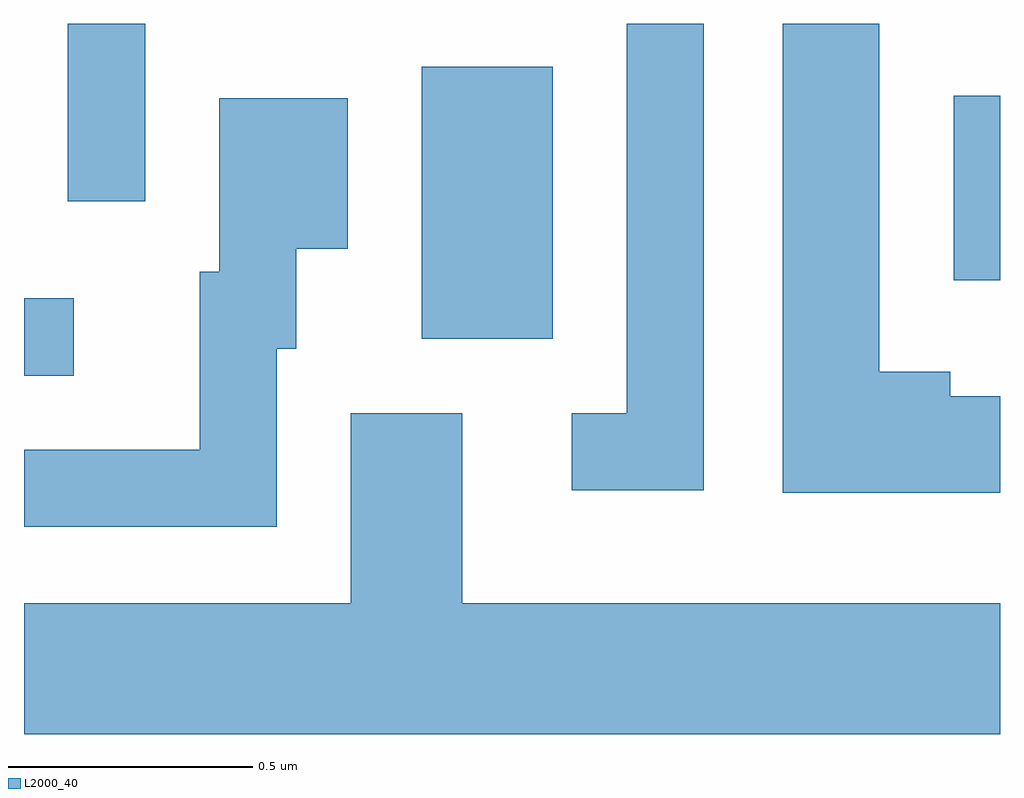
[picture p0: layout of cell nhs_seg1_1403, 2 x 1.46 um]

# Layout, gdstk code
import gdstk
lib = gdstk.Library(unit=1e-6, precision=1e-09)
def R(c, l, rs):  # rectangles x0, y0, x1, y1
    for r in rs: c.add(gdstk.rectangle(r[:2], r[2:], *l))
def P(c, l, *ps):  # polygons
    for p in ps: c.add(gdstk.Polygon(p, *l))
L2000_40 = (2000, 40)

nhs_seg1_1403 = lib.new_cell('nhs_seg1_1403')
R(nhs_seg1_1403, L2000_40, [(195.611,886.991,195.713,887.149), (196.426,887.066,196.694,887.624), (197.516,887.186,197.611,887.564), (195.701,887.348,195.859,887.712)])
P(nhs_seg1_1403, L2000_40, [(197.004,887.712),(196.846,887.712),(196.846,886.914),(196.733,886.914),(196.733,886.756),(197.004,886.756)],
  [(197.611,886.949),(197.509,886.949),(197.509,886.999),(197.364,886.999),(197.364,887.712),(197.166,887.712),(197.166,886.751),(197.611,886.751)],
  [(196.129,887.046),(196.169,887.046),(196.169,887.251),(196.274,887.251),(196.274,887.559),(196.011,887.559),(196.011,887.204),(195.971,887.204),(195.971,886.839),(195.611,886.839),(195.611,886.681),(196.129,886.681)],
  [(197.611,886.524),(196.509,886.524),(196.509,886.914),(196.281,886.914),(196.281,886.524),(195.611,886.524),(195.611,886.256),(197.611,886.256)])

lib.write_gds('nhs_seg1_1403.gds')
